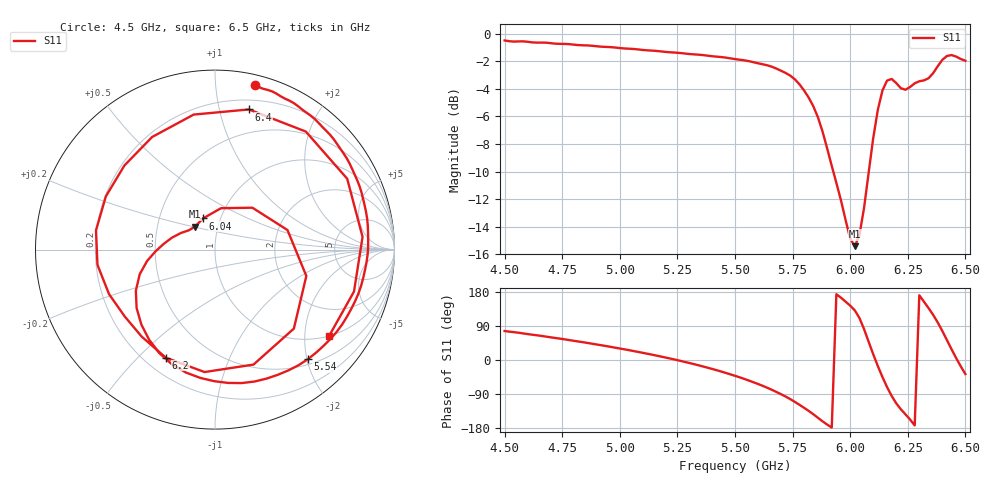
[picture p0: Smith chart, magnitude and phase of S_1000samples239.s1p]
! TOUCHSTONE file generated by CST MICROWAVE STUDIO
! Date and time: Thu Oct 27 11:52:10 2022
! Project name: L.cst
! Parameters = {Di=1.27; Epsilon_r=1.56; InnerDiameter=1.27; Length=2; Lf=10; Lg=60; OuterConductorThickness=0.2921; OuterDiameter=3.6; Wf=3; Wp=41.2; de=1.5; df=6.8; g=0.8; gx=1.92615; gy=2.17075; h=2.34; hf=1.524; px=8.27959; py=13.4793; w=9.7; wx=6.35344; wy=11.3085}
! Header version: 2018
! Port assignment regex: !\s*Touchstone port\s*([0-9]+)\s*=\s*(CST MWS port|CST DS port)\s*([0-9]+|Zmin|Zmax)\s*\(\"(.*)\"\)(\s*mode\s*([0-9]+))?.*
! Touchstone port assignment:
! Touchstone port 1 = CST MWS port 1 ("")
# GHz S DB R 50
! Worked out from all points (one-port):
!   101 points, 4.5 GHz to 6.5 GHz, reference 50 ohm
!   lowest |S11| = -15.4 dB at 6.02 GHz (marker M1), VSWR 1.41, Z = 38.8 + j10.3 ohm
!   |S11| at or under -10 dB: 5.927 GHz to 6.081 GHz (154.1 MHz wide, 2.57 % of centre)
!   S11 on the Smith chart (normalised r, x): 4.5 GHz: 0.07, +1.27; 5.54 GHz: 0.59, -2.01; 6.04 GHz: 0.83, +0.30; 6.2 GHz: 0.28, -0.61; 6.4 GHz: 0.28, +1.23; 6.5 GHz: 1.00, -2.64
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4.5  -0.50 76.5
4.76  -0.75 54.6
5  -1.05 30.3
5.26  -1.40 -1.9
5.5  -1.85 -41.7
5.54  -1.94 -49.8
5.66  -2.40 -78.7
5.76  -3.32 -110.6
5.86  -6.07 -152.5
5.92  -9.59 -178.3
6  -14.85 143.4
6.02  -15.40 130.9
6.04  -14.60 110.9
6.08  -10.09 48.2
6.1  -7.57 15.1
6.12  -5.52 -16.1
6.14  -4.12 -45.0
6.16  -3.41 -71.5
6.2  -3.59 -114.5
6.26  -3.87 -157.2
6.3  -3.46 170.8
6.34  -3.24 137.1
6.36  -2.87 119.2
6.4  -1.90 76.4
6.42  -1.62 52.4
6.44  -1.56 28.2
6.46  -1.67 4.9
6.5  -1.97 -37.1
